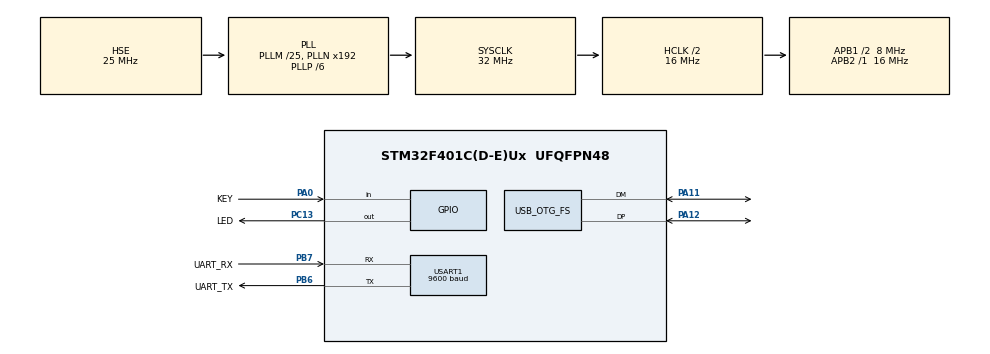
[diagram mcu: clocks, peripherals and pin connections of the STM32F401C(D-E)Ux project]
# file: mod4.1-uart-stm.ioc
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Mcu.Family=STM32F4
Mcu.Name=STM32F401C(D-E)Ux
Mcu.Package=UFQFPN48
NVIC.OTG_FS_IRQn=true\:0\:0\:false\:false\:true\:false\:true\:true
NVIC.PriorityGroup=NVIC_PRIORITYGROUP_4
PA0-WKUP.GPIO_Label=KEY
PA0-WKUP.GPIO_PuPd=GPIO_PULLUP
PA0-WKUP.Signal=GPIO_Input
PA11.Mode=Device_Only
PA11.Signal=USB_OTG_FS_DM
PA12.Mode=Device_Only
PA12.Signal=USB_OTG_FS_DP
PB6.GPIO_Label=UART_TX
PB6.Mode=Asynchronous
PB6.Signal=USART1_TX
PB7.GPIO_Label=UART_RX
PB7.Mode=Asynchronous
PB7.Signal=USART1_RX
PC13-ANTI_TAMP.GPIO_Label=LED
PC13-ANTI_TAMP.Signal=GPIO_Output
PH0\ -\ OSC_IN.Mode=HSE-External-Oscillator
PH0\ -\ OSC_IN.Signal=RCC_OSC_IN
PH1\ -\ OSC_OUT.Mode=HSE-External-Oscillator
PH1\ -\ OSC_OUT.Signal=RCC_OSC_OUT
ProjectManager.HeapSize=0x200
ProjectManager.StackSize=0x400
ProjectManager.TargetToolchain=Makefile
RCC.48MHZClocksFreq_Value=48000000
RCC.AHBCLKDivider=RCC_SYSCLK_DIV2
RCC.AHBFreq_Value=16000000
RCC.APB1CLKDivider=RCC_HCLK_DIV2
RCC.APB1Freq_Value=8000000
RCC.APB1TimFreq_Value=16000000
RCC.APB2Freq_Value=16000000
RCC.APB2TimFreq_Value=16000000
RCC.CortexFreq_Value=16000000
RCC.HCLKFreq_Value=16000000
RCC.HSE_VALUE=25000000
RCC.HSI_VALUE=16000000
RCC.LSE_VALUE=32768
RCC.PLLM=25
RCC.PLLP=RCC_PLLP_DIV6
RCC.SYSCLKFreq_VALUE=32000000
RCC.SYSCLKSource=RCC_SYSCLKSOURCE_PLLCLK
RCC.VCOOutputFreq_Value=192000000
USART1.BaudRate=9600
USART1.VirtualMode=VM_ASYNC
USB_DEVICE.CLASS_NAME_FS=CDC
USB_DEVICE.VirtualMode-CDC_FS=Cdc
USB_DEVICE.VirtualModeFS=Cdc_FS
USB_OTG_FS.VirtualMode=Device_Only
VP_USB_DEVICE_VS_USB_DEVICE_CDC_FS.Mode=CDC_FS
board=custom

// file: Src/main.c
/* USER CODE BEGIN Header */
/*
LED Control Over UART

This program allows control of an LED connected to a microcontroller via UART commands. The LED can be turned on, turned
off, or its status can be queried using specific commands sent over UART.
*/

/**
  ******************************************************************************
  * @file           : main.c
  * @brief          : Main program body
  ******************************************************************************
  * @attention
  *
  * Copyright (c) 2026 STMicroelectronics.
  * All rights reserved.
  *
  * This software is licensed under terms that can be found in the LICENSE file
  * in the root directory of this software component.
  * If no LICENSE file comes with this software, it is provided AS-IS.
  *
  ******************************************************************************
  */
/* USER CODE END Header */
#include "main.h"
#include "usart.h"
#include "usb_device.h"
#include "gpio.h"

/* USER CODE BEGIN Includes */

#include <stdbool.h>

#include "usbd_cdc_if.h"

#include "led.h"
#include "cmd.h"

/* USER CODE END Includes */

/* USER CODE BEGIN PV */

const uint32_t debounce_delay = 20; // milliseconds

/* USER CODE END PV */

void SystemClock_Config(void);

int main(void)
{

  /* MCU Configuration--------------------------------------------------------*/

  /* Reset of all peripherals, Initializes the Flash interface and the Systick. */
  HAL_Init();

  /* Configure the system clock */
  SystemClock_Config();

  /* Initialize all configured peripherals */
  MX_GPIO_Init();
  MX_USART1_UART_Init();
  MX_USB_DEVICE_Init();

  /* Infinite loop */
  /* USER CODE BEGIN WHILE */

  bool last_key_state = false;
  bool current_key_state = false;
  bool key_state = false;
  uint32_t current_time = HAL_GetTick();
  uint32_t last_debounce_time = 0;

  uint8_t uart_buffer[1];
  uint8_t cmd_buffer[16]; // Buffer to store incoming command characters
  int cmd_index = 0;

  while (1)
  {
    /* USER CODE END WHILE */

    /* USER CODE BEGIN 3 */

    current_key_state = HAL_GPIO_ReadPin(KEY_GPIO_Port, KEY_Pin) == GPIO_PIN_RESET;
    current_time = HAL_GetTick();

    if (current_key_state != last_key_state)
    {
      last_debounce_time = current_time;
    }

    last_key_state = current_key_state;

    if (current_time - last_debounce_time > debounce_delay)
    {
      if (current_key_state != key_state)
      {
        key_state = current_key_state;

        // Toggle LED state on button press
        if (key_state)
        {
          led_get_state() ? led_off() : led_on();
        }
      }
    }

    HAL_StatusTypeDef status = HAL_UART_Receive(&huart1, uart_buffer, sizeof(uart_buffer), 10);

    switch (status)
    {
    case HAL_OK:
      // Accumulate received characters into the command buffer until a null terminator is received
      if (cmd_index <= sizeof(cmd_buffer) - 1)
      {
        cmd_buffer[cmd_index] = uart_buffer[0];
        ++cmd_index;

        if (uart_buffer[0] == 0)
        {
          // Null terminator received, process the command
          printf("Received command: %s\r\n", cmd_buffer);
          cmd_process((char *)cmd_buffer, sizeof(cmd_buffer));
          // Reset the command buffer index for the next command
          cmd_index = 0;
        }
      }
      else
      {
        // Buffer overflow, reset index
        cmd_index = 0;
        printf("Command buffer overflow. Resetting buffer.\r\n");
      }
      break;
    case HAL_TIMEOUT:
      // No data received within the timeout period; this is normal operation.
      break;
    case HAL_ERROR:
      printf("UART receive error occurred.\r\n");
      break;
    case HAL_BUSY:
      printf("UART is busy; cannot receive data at this time.\r\n");
      break;
    }
  }

  /* USER CODE END 3 */
}

void SystemClock_Config(void)
{
  RCC_OscInitTypeDef RCC_OscInitStruct = {0};
  RCC_ClkInitTypeDef RCC_ClkInitStruct = {0};

  /** Configure the main internal regulator output voltage
  */
  __HAL_RCC_PWR_CLK_ENABLE();
  __HAL_PWR_VOLTAGESCALING_CONFIG(PWR_REGULATOR_VOLTAGE_SCALE2);

  /** Initializes the RCC Oscillators according to the specified parameters
  * in the RCC_OscInitTypeDef structure.
  */
  RCC_OscInitStruct.OscillatorType = RCC_OSCILLATORTYPE_HSE;
  RCC_OscInitStruct.HSEState = RCC_HSE_ON;
  RCC_OscInitStruct.PLL.PLLState = RCC_PLL_ON;
  RCC_OscInitStruct.PLL.PLLSource = RCC_PLLSOURCE_HSE;
  RCC_OscInitStruct.PLL.PLLM = 25;
  RCC_OscInitStruct.PLL.PLLN = 192;
  RCC_OscInitStruct.PLL.PLLP = RCC_PLLP_DIV6;
  RCC_OscInitStruct.PLL.PLLQ = 4;
  if (HAL_RCC_OscConfig(&RCC_OscInitStruct) != HAL_OK)
  {
    Error_Handler();
  }

  /** Initializes the CPU, AHB and APB buses clocks
  */
  RCC_ClkInitStruct.ClockType = RCC_CLOCKTYPE_HCLK|RCC_CLOCKTYPE_SYSCLK
                              |RCC_CLOCKTYPE_PCLK1|RCC_CLOCKTYPE_PCLK2;
  RCC_ClkInitStruct.SYSCLKSource = RCC_SYSCLKSOURCE_PLLCLK;
  RCC_ClkInitStruct.AHBCLKDivider = RCC_SYSCLK_DIV2;
  RCC_ClkInitStruct.APB1CLKDivider = RCC_HCLK_DIV2;
  RCC_ClkInitStruct.APB2CLKDivider = RCC_HCLK_DIV1;

  if (HAL_RCC_ClockConfig(&RCC_ClkInitStruct, FLASH_LATENCY_0) != HAL_OK)
  {
    Error_Handler();
  }
}

/* USER CODE BEGIN 4 */

int _write(int file, char *ptr, int len)
{
  (void)file;

  // Check if the USB device is actually configured and ready.
  extern USBD_HandleTypeDef hUsbDeviceFS;
  if (hUsbDeviceFS.dev_state != USBD_STATE_CONFIGURED)
  {
    return len; // Drop bytes silently if USB cable is unplugged.
  }

  // Attempt transmission. If busy, skip this packet to avoid deadlocks.
  if (CDC_Transmit_FS((uint8_t *)ptr, len) == USBD_BUSY)
  {
    return 0;
  }

  return len;
}

/* USER CODE END 4 */

void Error_Handler(void)
{
  __disable_irq();
  while (1)
  {
  }
}
